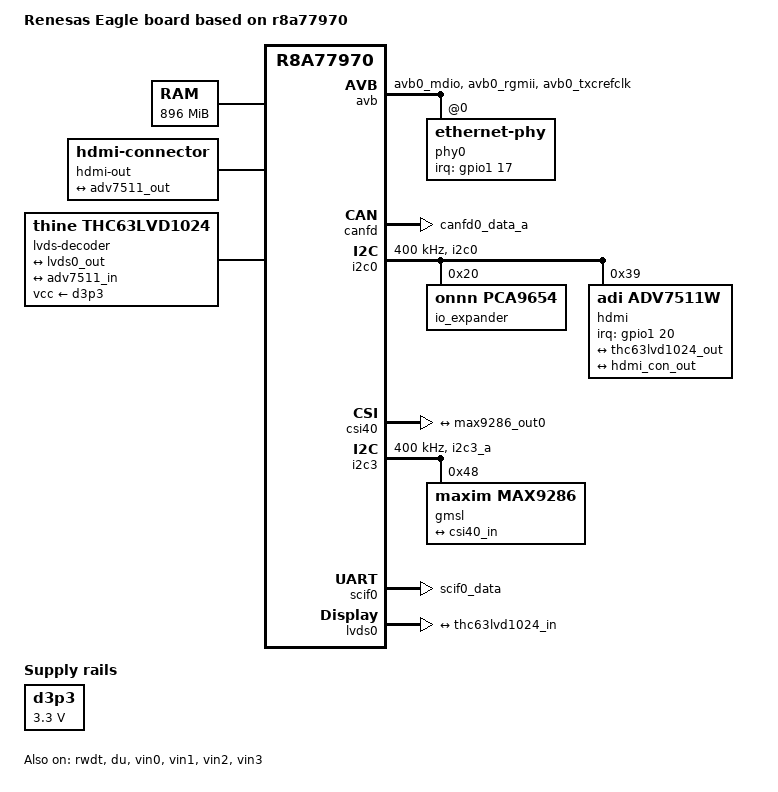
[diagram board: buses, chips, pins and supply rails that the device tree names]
// SPDX-License-Identifier: GPL-2.0
/*
 * Device Tree Source for the Eagle board
 *
 * Copyright (C) 2016-2017 Renesas Electronics Corp.
 * Copyright (C) 2017 Cogent Embedded, Inc.
 */

#include <dt-bindings/gpio/gpio.h>

/dts-v1/;
#include "r8a77970.dtsi"

/ {
	model = "Renesas Eagle board based on r8a77970";
	compatible = "renesas,eagle", "renesas,r8a77970";

	aliases {
		serial0 = &scif0;
		ethernet0 = &avb;
	};

	chosen {
		bootargs = "ignore_loglevel rw root=/dev/nfs ip=dhcp";
		stdout-path = "serial0:115200n8";
	};

	memory@48000000 {
		device_type = "memory";
		/* first 128MB is reserved for secure area. */
		reg = <0x0 0x48000000 0x0 0x38000000>;
	};

	hdmi-out {
		compatible = "hdmi-connector";
		type = "a";

		port {
			hdmi_con_out: endpoint {
				remote-endpoint = <&adv7511_out>;
			};
		};
	};

	d3p3: regulator-fixed {
		compatible = "regulator-fixed";
		regulator-name = "fixed-3.3V";
		regulator-min-microvolt = <3300000>;
		regulator-max-microvolt = <3300000>;
		regulator-boot-on;
		regulator-always-on;
	};

	lvds-decoder {
		compatible = "thine,thc63lvd1024";

		vcc-supply = <&d3p3>;

		ports {
			#address-cells = <1>;
			#size-cells = <0>;

			port@0 {
				reg = <0>;
				thc63lvd1024_in: endpoint {
					remote-endpoint = <&lvds0_out>;
				};
			};

			port@2 {
				reg = <2>;
				thc63lvd1024_out: endpoint {
					remote-endpoint = <&adv7511_in>;
				};
			};
		};
	};
};

&avb {
	pinctrl-0 = <&avb_pins>;
	pinctrl-names = "default";

	renesas,no-ether-link;
	phy-handle = <&phy0>;
	phy-mode = "rgmii-id";
	status = "okay";

	phy0: ethernet-phy@0 {
		rxc-skew-ps = <1500>;
		reg = <0>;
		interrupt-parent = <&gpio1>;
		interrupts = <17 IRQ_TYPE_LEVEL_LOW>;
	};
};

&canfd {
	pinctrl-0 = <&canfd0_pins>;
	pinctrl-names = "default";
	status = "okay";

	channel0 {
		status = "okay";
	};
};

&extal_clk {
	clock-frequency = <16666666>;
};

&extalr_clk {
	clock-frequency = <32768>;
};

&i2c0 {
	pinctrl-0 = <&i2c0_pins>;
	pinctrl-names = "default";

	status = "okay";
	clock-frequency = <400000>;

	io_expander: gpio@20 {
		compatible = "onnn,pca9654";
		reg = <0x20>;
		gpio-controller;
		#gpio-cells = <2>;

		max_9286_pwdn {
			gpio-hog;
			gpios = <0x0 0x0>;
			output-high;
			line-name = "eagle-pca9654-max9286-pwdn";
		};
	};

	hdmi@39 {
		compatible = "adi,adv7511w";
		reg = <0x39>;
		interrupt-parent = <&gpio1>;
		interrupts = <20 IRQ_TYPE_LEVEL_LOW>;

		adi,input-depth = <8>;
		adi,input-colorspace = "rgb";
		adi,input-clock = "1x";
		adi,input-style = <1>;
		adi,input-justification = "evenly";

		ports {
			#address-cells = <1>;
			#size-cells = <0>;

			port@0 {
				reg = <0>;
				adv7511_in: endpoint {
					remote-endpoint = <&thc63lvd1024_out>;
				};
			};

			port@1 {
				reg = <1>;
				adv7511_out: endpoint {
					remote-endpoint = <&hdmi_con_out>;
				};
			};
		};
	};
};

&pfc {
	avb_pins: avb0 {
		groups = "avb0_mdio", "avb0_rgmii", "avb0_txcrefclk";
		function = "avb0";
	};

	canfd0_pins: canfd0 {
		groups = "canfd0_data_a";
		function = "canfd0";
	};

	i2c0_pins: i2c0 {
		groups = "i2c0";
		function = "i2c0";
	};

	i2c3_pins: i2c3 {
		groups = "i2c3_a";
		function = "i2c3";
	};

	scif0_pins: scif0 {
		groups = "scif0_data";
		function = "scif0";
	};
};

&rwdt {
	timeout-sec = <60>;
	status = "okay";
};

&csi40 {
	status = "okay";

	ports {
		#address-cells = <1>;
		#size-cells = <0>;

		port@0 {
			reg = <0>;

			csi40_in: endpoint {
				clock-lanes = <0>;
				data-lanes = <1 2 3 4>;
				remote-endpoint = <&max9286_out0>;
			};
		};
	};
};


&i2c3 {
	pinctrl-0 = <&i2c3_pins>;
	pinctrl-names = "default";

	status = "okay";
	clock-frequency = <400000>;

	gmsl: gmsl-deserializer@48 {
		compatible = "maxim,max9286";
		reg = <0x48>;

		#address-cells = <1>;
		#size-cells = <0>;

		ports {
			#address-cells = <1>;
			#size-cells = <0>;

			port@0 {
				reg = <0>;
				max9286_in0: endpoint {
				};
			};

			port@1 {
				reg = <1>;
				max9286_in1: endpoint {
				};
			};

			port@2 {
				reg = <2>;
				max9286_in2: endpoint {
				};
			};

			port@3 {
				reg = <3>;
				max9286_in3: endpoint {
				};
			};

			port@4 {
				reg = <4>;
				max9286_out0: endpoint {
					clock-lanes = <0>;
					data-lanes = <1 2 3 4>;
					remote-endpoint = <&csi40_in>;
				};
			};
		};

		i2c@0 {
			#address-cells = <1>;
			#size-cells = <0>;
			reg = <0>;

			status = "disabled";
		};

		i2c@1 {
			#address-cells = <1>;
			#size-cells = <0>;
			reg = <1>;

			status = "disabled";
		};

		i2c@2 {
			#address-cells = <1>;
			#size-cells = <0>;
			reg = <2>;

			status = "disabled";
		};

		i2c@3 {
			#address-cells = <1>;
			#size-cells = <0>;
			reg = <3>;

			status = "disabled";
		};
	};
};

&scif0 {
	pinctrl-0 = <&scif0_pins>;
	pinctrl-names = "default";

	status = "okay";
};

&du {
	status = "okay";
};

&lvds0 {
	status = "okay";

	ports {
		port@1 {
			lvds0_out: endpoint {
				remote-endpoint = <&thc63lvd1024_in>;
			};
		};
	};
};

&vin0 {
	status = "okay";
};

&vin1 {
	status = "okay";
};

&vin2 {
	status = "okay";
};

&vin3 {
	status = "okay";
};
